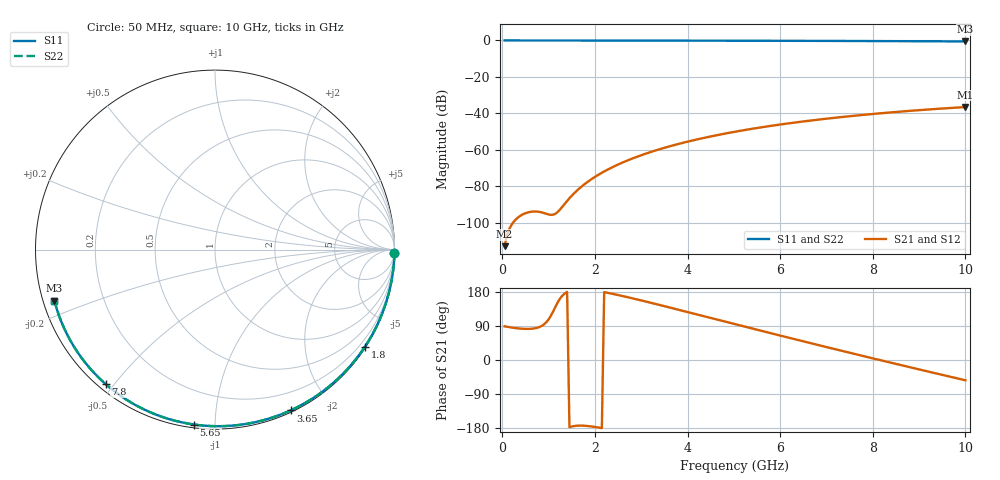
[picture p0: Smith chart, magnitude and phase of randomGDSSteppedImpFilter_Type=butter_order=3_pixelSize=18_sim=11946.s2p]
! freq	dB(S11)	phase(S11)	dB(S12)	phase(S12)
!  dB(S21)	phase(S21)	dB(S22)	phase(S22)
!S-par simulation data
#  GHz  S  DB  R 50
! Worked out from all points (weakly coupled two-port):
!   200 points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, 50 MHz to 10 GHz, reference 50 ohm
!   highest |S21| = -36.48 dB at 10 GHz (marker M1); lowest = -112.7 dB at 50 MHz (marker M2)
!   lowest |S11| = -0.5 dB at 10 GHz (marker M3), VSWR 31.77, Z = 1.61 - j7.76 ohm
!   |S11| at or under -10 dB: nowhere
!   |S22| runs from -0.5 to 0.0 dB; largest |S21 - S12| = 0
!   S11 on the Smith chart (normalised r, x): 50 MHz: open; 1.8 GHz: 0.03, -3.39; 3.65 GHz: 0.02, -1.57; 5.65 GHz: 0.02, -0.89; 7.8 GHz: 0.02, -0.48; 10 GHz: 0.03, -0.16
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0.05  -0.00 -0.9  -112.69 88.8  -112.69 88.8  -0.00 -0.9
0.45  -0.01 -8.3  -95.18 82.4  -95.18 82.4  -0.01 -8.3
0.85  -0.02 -15.7  -94.17 89.9  -94.17 89.9  -0.02 -15.7
1.7  -0.04 -31.1  -80.29 -173.1  -80.29 -173.1  -0.04 -31.1
1.75  -0.04 -32.0  -79.25 -173.3  -79.25 -173.3  -0.04 -32.0
1.8  -0.04 -32.9  -78.27 -173.7  -78.27 -173.7  -0.04 -32.9
2.1  -0.05 -38.2  -73.20 -178.6  -73.20 -178.6  -0.05 -38.2
2.3  -0.05 -41.7  -70.42 176.7  -70.42 176.7  -0.05 -41.7
2.5  -0.06 -45.2  -67.97 171.5  -67.97 171.5  -0.06 -45.2
2.9  -0.07 -52.1  -63.80 160.2  -63.80 160.2  -0.07 -52.1
3.4  -0.08 -60.6  -59.56 145.1  -59.56 145.1  -0.08 -60.6
3.65  -0.09 -64.8  -57.74 137.4  -57.74 137.4  -0.09 -64.8
4.3  -0.11 -75.5  -53.67 117.2  -53.67 117.2  -0.11 -75.5
5.05  -0.13 -87.5  -49.89 93.9  -49.89 93.9  -0.13 -87.5
5.65  -0.16 -96.9  -47.36 75.3  -47.36 75.3  -0.16 -96.9
6.15  -0.19 -104.5  -45.53 59.9  -45.53 59.9  -0.19 -104.5
6.7  -0.22 -112.8  -43.74 43.2  -43.74 43.2  -0.22 -112.8
7.25  -0.26 -121.0  -42.16 26.6  -42.16 26.6  -0.26 -121.0
7.8  -0.30 -129.2  -40.75 10.2  -40.75 10.2  -0.30 -129.2
8.35  -0.35 -137.3  -39.49 -5.9  -39.49 -5.9  -0.35 -137.3
9.2  -0.45 -150.0  -37.81 -30.6  -37.81 -30.6  -0.45 -150.0
10  -0.55 -162.3  -36.48 -53.5  -36.48 -53.5  -0.55 -162.3
